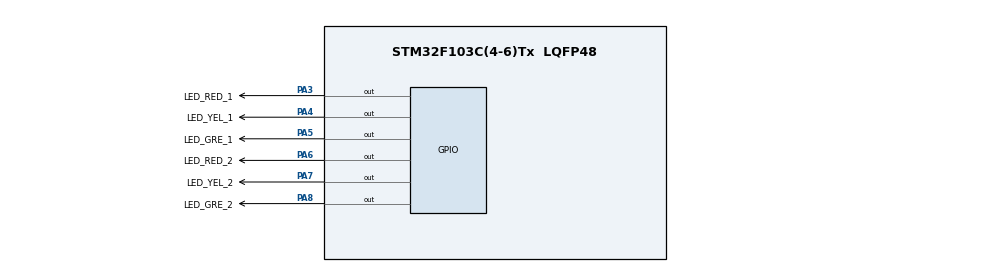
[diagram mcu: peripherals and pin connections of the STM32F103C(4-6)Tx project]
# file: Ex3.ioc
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Mcu.Family=STM32F1
Mcu.Name=STM32F103C(4-6)Tx
Mcu.Package=LQFP48
NVIC.PriorityGroup=NVIC_PRIORITYGROUP_4
PA3.GPIO_Label=LED_RED_1
PA3.Signal=GPIO_Output
PA4.GPIO_Label=LED_YEL_1
PA4.Signal=GPIO_Output
PA5.GPIO_Label=LED_GRE_1
PA5.Signal=GPIO_Output
PA6.GPIO_Label=LED_RED_2
PA6.Signal=GPIO_Output
PA7.GPIO_Label=LED_YEL_2
PA7.Signal=GPIO_Output
PA8.GPIO_Label=LED_GRE_2
PA8.Signal=GPIO_Output
ProjectManager.HeapSize=0x200
ProjectManager.StackSize=0x400
ProjectManager.TargetToolchain=STM32CubeIDE
RCC.APB1Freq_Value=8000000
RCC.APB2Freq_Value=8000000
VP_SYS_VS_ND.Mode=No_Debug
board=custom

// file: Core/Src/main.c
/* USER CODE BEGIN Header */
/**
  ******************************************************************************
  * @file           : main.c
  * @brief          : Main program body
  ******************************************************************************
  * @attention
  *
  * <h2><center>&copy; Copyright (c) 2023 STMicroelectronics.
  * All rights reserved.</center></h2>
  *
  * This software component is licensed by ST under BSD 3-Clause license,
  * the "License"; You may not use this file except in compliance with the
  * License. You may obtain a copy of the License at:
  *                        opensource.org/licenses/BSD-3-Clause
  *
  ******************************************************************************
  */
/* USER CODE END Header */
#include "main.h"

void SystemClock_Config(void);
static void MX_GPIO_Init(void);

int main(void)
{

  /* MCU Configuration--------------------------------------------------------*/

  /* Reset of all peripherals, Initializes the Flash interface and the Systick. */
  HAL_Init();

  /* Configure the system clock */
  SystemClock_Config();

  /* Initialize all configured peripherals */
  MX_GPIO_Init();

  /* Infinite loop */
  /* USER CODE BEGIN WHILE */
  int time1=5;
  int time2=3;
  HAL_GPIO_WritePin(LED_RED_1_GPIO_Port, LED_RED_1_Pin, SET);
  HAL_GPIO_WritePin(LED_RED_2_GPIO_Port, LED_RED_2_Pin, RESET);

  HAL_GPIO_WritePin(LED_YEL_1_GPIO_Port, LED_YEL_1_Pin, RESET);
  HAL_GPIO_WritePin(LED_YEL_2_GPIO_Port, LED_YEL_2_Pin, RESET);

  HAL_GPIO_WritePin(LED_GRE_1_GPIO_Port, LED_GRE_1_Pin, RESET);
  HAL_GPIO_WritePin(LED_GRE_2_GPIO_Port, LED_GRE_2_Pin, SET);

  while (1)
  {
	  if(HAL_GPIO_ReadPin(LED_RED_1_GPIO_Port, LED_RED_1_Pin) == GPIO_PIN_SET){
	  		  if(time1 <=0){
	  			  HAL_GPIO_TogglePin(LED_RED_1_GPIO_Port, LED_RED_1_Pin);
	  			  HAL_GPIO_TogglePin(LED_GRE_1_GPIO_Port, LED_GRE_1_Pin);
	  			  time1=3;
	  		  }
	  	  }
	  	  if(HAL_GPIO_ReadPin(LED_GRE_1_GPIO_Port, LED_GRE_1_Pin) == GPIO_PIN_SET){
	  		  if(time1 <= 0){
	  			  HAL_GPIO_TogglePin(LED_GRE_1_GPIO_Port, LED_GRE_1_Pin);
	  		      HAL_GPIO_TogglePin(LED_YEL_1_GPIO_Port, LED_YEL_1_Pin);
	  			  time1=2;
	  		  }
	  	  }
	  	  if(HAL_GPIO_ReadPin(LED_YEL_1_GPIO_Port, LED_YEL_1_Pin) == GPIO_PIN_SET){
	  		  if(time1<= 0){
	  			  HAL_GPIO_TogglePin(LED_RED_1_GPIO_Port, LED_RED_1_Pin);
	  			  HAL_GPIO_TogglePin(LED_YEL_1_GPIO_Port, LED_YEL_1_Pin);
	  			  time1=5;
	  		  }
	  	  }
		if (HAL_GPIO_ReadPin(LED_RED_2_GPIO_Port, LED_RED_2_Pin)
				== GPIO_PIN_SET) {
			if (time2 <= 0) {
				HAL_GPIO_TogglePin(LED_RED_2_GPIO_Port, LED_RED_2_Pin);
				HAL_GPIO_TogglePin(LED_GRE_2_GPIO_Port, LED_GRE_2_Pin);
				time2 = 3;
			}
		}
		if (HAL_GPIO_ReadPin(LED_GRE_2_GPIO_Port, LED_GRE_2_Pin)
				== GPIO_PIN_SET) {
			if (time2 <= 0) {
				HAL_GPIO_TogglePin(LED_GRE_2_GPIO_Port, LED_GRE_2_Pin);
				HAL_GPIO_TogglePin(LED_YEL_2_GPIO_Port, LED_YEL_2_Pin);
				time2 = 2;
			}
		}
		if (HAL_GPIO_ReadPin(LED_YEL_2_GPIO_Port, LED_YEL_2_Pin)
				== GPIO_PIN_SET) {
			if (time2 <= 0) {
				HAL_GPIO_TogglePin(LED_RED_2_GPIO_Port, LED_RED_2_Pin);
				HAL_GPIO_TogglePin(LED_YEL_2_GPIO_Port, LED_YEL_2_Pin);
				time2 = 5;
			}
		}
	  time1--;
	  time2--;

	  HAL_Delay(1000);

    /* USER CODE END WHILE */

  }
}

void SystemClock_Config(void)
{
  RCC_OscInitTypeDef RCC_OscInitStruct = {0};
  RCC_ClkInitTypeDef RCC_ClkInitStruct = {0};

  /** Initializes the RCC Oscillators according to the specified parameters
  * in the RCC_OscInitTypeDef structure.
  */
  RCC_OscInitStruct.OscillatorType = RCC_OSCILLATORTYPE_HSI;
  RCC_OscInitStruct.HSIState = RCC_HSI_ON;
  RCC_OscInitStruct.HSICalibrationValue = RCC_HSICALIBRATION_DEFAULT;
  RCC_OscInitStruct.PLL.PLLState = RCC_PLL_NONE;
  if (HAL_RCC_OscConfig(&RCC_OscInitStruct) != HAL_OK)
  {
    Error_Handler();
  }
  /** Initializes the CPU, AHB and APB buses clocks
  */
  RCC_ClkInitStruct.ClockType = RCC_CLOCKTYPE_HCLK|RCC_CLOCKTYPE_SYSCLK
                              |RCC_CLOCKTYPE_PCLK1|RCC_CLOCKTYPE_PCLK2;
  RCC_ClkInitStruct.SYSCLKSource = RCC_SYSCLKSOURCE_HSI;
  RCC_ClkInitStruct.AHBCLKDivider = RCC_SYSCLK_DIV1;
  RCC_ClkInitStruct.APB1CLKDivider = RCC_HCLK_DIV1;
  RCC_ClkInitStruct.APB2CLKDivider = RCC_HCLK_DIV1;

  if (HAL_RCC_ClockConfig(&RCC_ClkInitStruct, FLASH_LATENCY_0) != HAL_OK)
  {
    Error_Handler();
  }
}

static void MX_GPIO_Init(void)
{
  GPIO_InitTypeDef GPIO_InitStruct = {0};

  /* GPIO Ports Clock Enable */
  __HAL_RCC_GPIOA_CLK_ENABLE();

  /*Configure GPIO pin Output Level */
  HAL_GPIO_WritePin(GPIOA, LED_RED_1_Pin|LED_YEL_1_Pin|LED_GRE_1_Pin|LED_RED_2_Pin
                          |LED_YEL_2_Pin|LED_GRE_2_Pin, GPIO_PIN_RESET);

  /*Configure GPIO pins : LED_RED_1_Pin LED_YEL_1_Pin LED_GRE_1_Pin LED_RED_2_Pin
                           LED_YEL_2_Pin LED_GRE_2_Pin */
  GPIO_InitStruct.Pin = LED_RED_1_Pin|LED_YEL_1_Pin|LED_GRE_1_Pin|LED_RED_2_Pin
                          |LED_YEL_2_Pin|LED_GRE_2_Pin;
  GPIO_InitStruct.Mode = GPIO_MODE_OUTPUT_PP;
  GPIO_InitStruct.Pull = GPIO_NOPULL;
  GPIO_InitStruct.Speed = GPIO_SPEED_FREQ_LOW;
  HAL_GPIO_Init(GPIOA, &GPIO_InitStruct);

}

void Error_Handler(void)
{
  __disable_irq();
  while (1)
  {
  }
}

/************************ (C) COPYRIGHT STMicroelectronics *****END OF FILE****/
